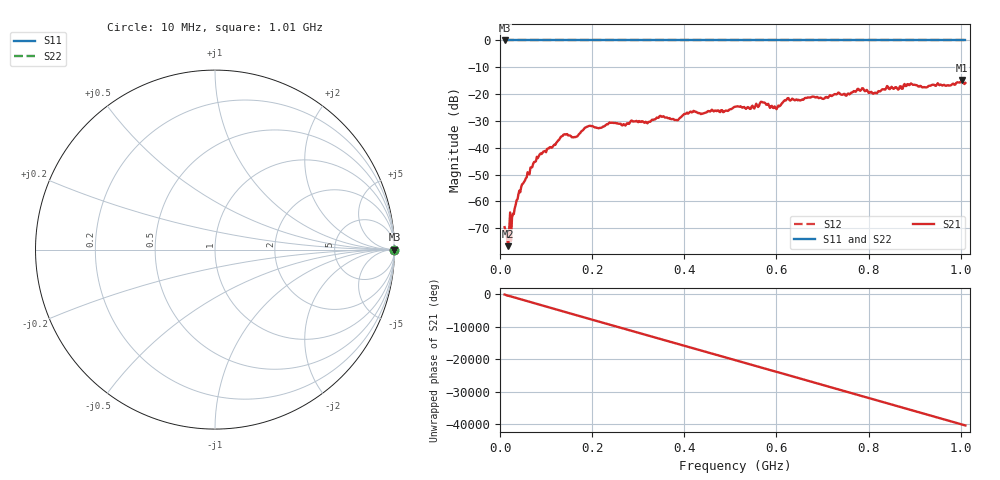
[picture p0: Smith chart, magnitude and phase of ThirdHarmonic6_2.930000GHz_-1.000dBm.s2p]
! 8/17/2025 8:10:54 AM
! C:\ANRITSUVNA\TEMP\TEMP.S2P
! CHANNEL.1
! TR.MEASUREMENT
! RAW.DATA
! RF.CORRECTION.OFF
! AVERAGING.OFF
! IF.BANDWIDTH: 5KHZ
! SWEEPTYPE:  FREQ.SWEEP(Linear)
! Reference Plane Port Info
! PORT:  PORT1  PORT2
! DISTANCE:  0  m  0  m
! TIME:  0  s  0  s
! PHASE.OFFSET:  0  deg.  0  deg.
! LOSS:  0  dB  0  dB
! REF.LOSS:  0  dB  0  dB
! REF.FREQ:  0  Hz  0  Hz
! Power Info
! POWER:  -20  dBm  -20  dBm
! EFF.POWER:  -20  dBm  -20  dBm
! SOURCE.ATTEN:  0  dB  0  dB
! TEST.ATTEN:  0  dB  0  dB
# GHZ S RI R 50.0
! FREQ.GHZ  S11RE  S11IM  S21RE  S21IM  S12RE  S12IM  S22RE  S22IM
!; PortSelection: Port_12
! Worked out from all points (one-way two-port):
!   501 points, 10 MHz to 1.01 GHz, reference 50 ohm
!   highest |S21| = -14.78 dB at 1.002 GHz (marker M1); lowest = -76.7 dB at 18 MHz (marker M2)
!   lowest |S11| = 0.0 dB at 10 MHz (marker M3)
!   |S11| at or under -10 dB: nowhere
!   |S22| runs from 0.0 to 0.0 dB; largest |S21 - S12| = 1.2
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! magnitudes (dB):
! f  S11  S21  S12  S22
! 10 MHz  0.0  -69.6  0.0  0.0
! 14 MHz  0.0  -72.4  0.0  0.0
! 18 MHz  0.0  -76.7  0.0  0.0
! 20 MHz  0.0  -70.3  0.0  0.0
! 44 MHz  0.0  -56.6  0.0  0.0
! 84 MHz  0.0  -43.2  0.0  0.0
! 136 MHz  0.0  -35.6  0.0  0.0
! 164 MHz  0.0  -36.0  0.0  0.0
! 178 MHz  0.0  -33.7  0.0  0.0
! 344 MHz  0.0  -28.8  0.0  0.0
! 384 MHz  0.0  -29.7  0.0  0.0
! 416 MHz  0.0  -26.8  0.0  0.0
! 510 MHz  0.0  -24.7  0.0  0.0
! 570 MHz  0.0  -23.1  0.0  0.0
! 598 MHz  0.0  -25.0  0.0  0.0
! 622 MHz  0.0  -22.0  0.0  0.0
! 678 MHz  0.0  -20.9  0.0  0.0
! 784 MHz  0.0  -18.4  0.0  0.0
! 814 MHz  0.0  -19.5  0.0  0.0
! 844 MHz  0.0  -18.0  0.0  0.0
! 1.002 GHz  0.0  -14.8  0.0  0.0
! 1.01 GHz  0.0  -15.9  0.0  0.0
